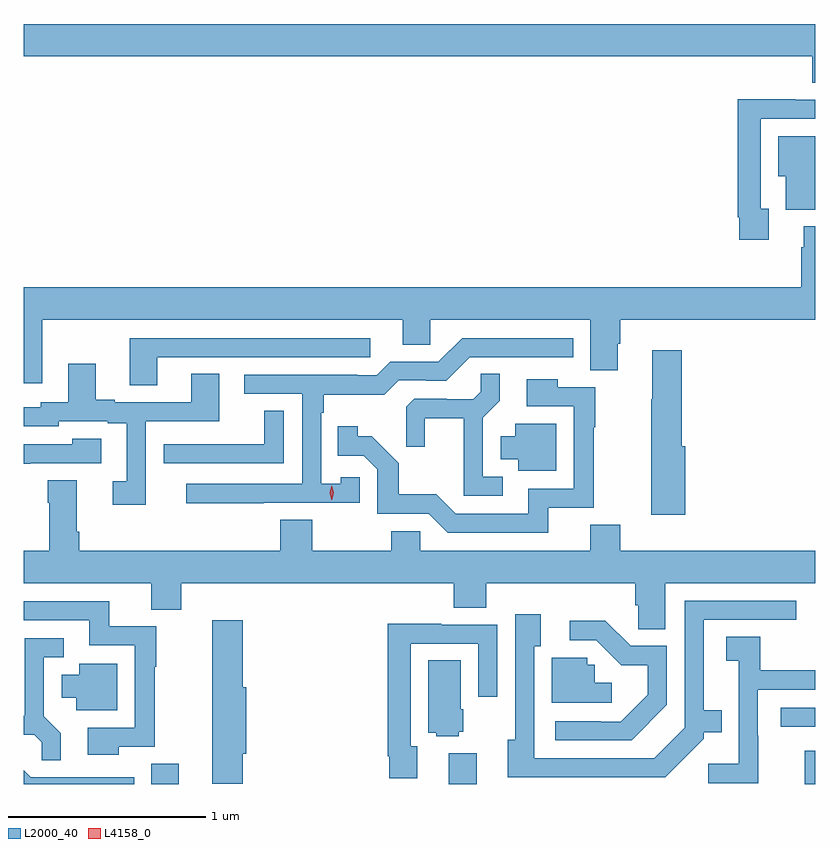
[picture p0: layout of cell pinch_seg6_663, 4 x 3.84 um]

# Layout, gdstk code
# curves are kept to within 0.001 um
import gdstk
lib = gdstk.Library(unit=1e-6, precision=1e-09)
def R(c, l, rs):  # rectangles x0, y0, x1, y1
    for r in rs: c.add(gdstk.rectangle(r[:2], r[2:], *l))
def P(c, l, *ps):  # polygons
    for p in ps: c.add(gdstk.Polygon(p, *l))
L2000_40 = (2000, 40)
L4158_0 = (4158, 0)

pinch_seg6_663 = lib.new_cell('pinch_seg6_663')
R(pinch_seg6_663, L2000_40, [(482.051,948.985,482.191,949.088), (483.557,948.985,483.697,949.141), (485.357,948.985,485.408,949.153), (485.235,949.275,485.408,949.371)])
P(pinch_seg6_663, L2000_40, [(485.408,952.828),(481.408,952.828),(481.408,952.664),(485.393,952.664),(485.393,952.531),(485.408,952.531)],
  [(485.173,951.894),(485.133,951.894),(485.133,952.35),(485.408,952.35),(485.408,952.446),(485.309,952.446),(485.309,952.448),(485.017,952.448),(485.017,951.85),(485.025,951.85),(485.025,951.738),(485.173,951.738)],
  [(485.408,952.261),(485.222,952.261),(485.222,952.058),(485.261,952.058),(485.261,951.89),(485.408,951.89)],
  [(481.501,951.332),(483.323,951.332),(483.323,951.205),(483.462,951.205),(483.462,951.332),(484.271,951.332),(484.271,951.076),(484.411,951.076),(484.411,951.21),(484.424,951.21),(484.424,951.332),(485.408,951.332),(485.408,951.805),(485.351,951.805),(485.351,951.698),(485.339,951.698),(485.339,951.496),(481.408,951.496),(481.408,951.012),(481.501,951.012)],
  [(482.083,951.144),(483.16,951.144),(483.16,951.24),(481.943,951.24),(481.943,951.001),(482.083,951.001)],
  [(482.621,950.406),(483.105,950.406),(483.105,950.535),(483.009,950.535),(483.009,950.503),(482.91,950.503),(482.91,950.861),(482.923,950.861),(482.923,950.954),(483.23,950.954),(483.303,951.027),(483.442,951.027),(483.442,951.024),(483.543,951.024),(483.663,951.144),(484.186,951.144),(484.186,951.24),(483.624,951.24),(483.504,951.12),(483.261,951.12),(483.192,951.051),(483.092,951.051),(483.092,951.054),(482.523,951.054),(482.523,950.958),(482.814,950.958),(482.814,950.502),(482.229,950.502),(482.229,950.404),(482.621,950.404)],
  [(484.751,950.694),(484.733,950.694),(484.733,951.178),(484.586,951.178),(484.586,950.93),(484.579,950.93),(484.579,950.694),(484.58,950.694),(484.58,950.346),(484.751,950.346)],
  [(482.025,950.82),(482.395,950.82),(482.395,951.059),(482.255,951.059),(482.255,950.916),(481.867,950.916),(481.867,950.929),(481.771,950.929),(481.771,951.109),(481.631,951.109),(481.631,950.916),(481.494,950.916),(481.494,950.889),(481.408,950.889),(481.408,950.793),(481.584,950.793),(481.584,950.82),(481.832,950.82),(481.832,950.808),(481.928,950.808),(481.928,950.517),(481.857,950.517),(481.857,950.397),(482.025,950.397)],
  [(483.829,950.538),(483.729,950.538),(483.729,950.837),(483.815,950.923),(483.815,951.059),(483.717,951.059),(483.717,950.968),(483.68,950.931),(483.546,950.931),(483.546,950.934),(483.381,950.934),(483.34,950.893),(483.34,950.691),(483.434,950.691),(483.434,950.834),(483.632,950.834),(483.632,950.442),(483.829,950.442)],
  [(484.058,950.382),(484.289,950.382),(484.289,950.788),(484.297,950.788),(484.297,950.991),(484.107,950.991),(484.107,951.031),(483.951,951.031),(483.951,950.895),(484.188,950.895),(484.188,950.478),(483.959,950.478),(483.959,950.352),(483.591,950.352),(483.493,950.451),(483.304,950.451),(483.304,950.606),(483.166,950.744),(483.096,950.744),(483.096,950.794),(482.995,950.794),(482.995,950.646),(483.126,950.646),(483.195,950.577),(483.195,950.352),(483.456,950.352),(483.552,950.256),(484.058,950.256)],
  [(482.721,950.873),(482.623,950.873),(482.623,950.703),(482.227,950.703),(482.227,950.702),(482.115,950.702),(482.115,950.607),(482.721,950.607)],
  [(484.099,950.806),(483.893,950.806),(483.893,950.743),(483.818,950.743),(483.818,950.627),(483.908,950.627),(483.908,950.57),(484.099,950.57)],
  [(481.439,950.607),(481.798,950.607),(481.798,950.731),(481.653,950.731),(481.653,950.703),(481.408,950.703),(481.408,950.605),(481.439,950.605)],
  [(484.651,950),(485.408,950),(485.408,950.164),(484.424,950.164),(484.424,950.297),(484.271,950.297),(484.271,950.164),(483.411,950.164),(483.411,950.262),(483.265,950.262),(483.265,950.164),(482.865,950.164),(482.865,950.321),(482.705,950.321),(482.705,950.164),(481.688,950.164),(481.688,950.26),(481.675,950.26),(481.675,950.521),(481.528,950.521),(481.528,950.408),(481.535,950.408),(481.535,950.164),(481.408,950.164),(481.408,950),(482.051,950),(482.051,949.867),(482.204,949.867),(482.204,950),(483.581,950),(483.581,949.876),(483.746,949.876),(483.746,950),(484.499,950),(484.499,949.89),(484.513,949.89),(484.513,949.768),(484.651,949.768)],
  [(484.319,949.02),(484.65,949.02),(484.845,949.215),(484.845,949.247),(484.937,949.247),(484.937,949.357),(484.846,949.357),(484.846,949.815),(485.314,949.815),(485.314,949.911),(484.749,949.911),(484.749,949.269),(484.596,949.116),(483.987,949.116),(483.987,949.682),(484.021,949.682),(484.021,949.843),(483.891,949.843),(483.891,949.21),(483.854,949.21),(483.854,949.019)],
  [(481.887,949.173),(482.069,949.173),(482.069,949.579),(482.077,949.579),(482.077,949.782),(481.838,949.782),(481.838,949.908),(481.408,949.908),(481.408,949.812),(481.739,949.812),(481.739,949.686),(481.968,949.686),(481.968,949.269),(481.731,949.269),(481.731,949.133),(481.887,949.133)],
  [(482.513,949.137),(482.531,949.137),(482.531,949.473),(482.513,949.473),(482.513,949.813),(482.359,949.813),(482.359,949.473),(482.36,949.473),(482.36,948.987),(482.513,948.987)],
  [(484.659,949.385),(484.659,949.683),(484.476,949.683),(484.348,949.811),(484.167,949.811),(484.167,949.713),(484.302,949.713),(484.429,949.586),(484.562,949.586),(484.562,949.436),(484.425,949.299),(484.325,949.299),(484.325,949.302),(484.095,949.302),(484.095,949.206),(484.48,949.206)],
  [(483.397,949.175),(483.363,949.175),(483.363,949.695),(483.705,949.695),(483.705,949.425),(483.801,949.425),(483.801,949.791),(483.517,949.791),(483.517,949.795),(483.247,949.795),(483.247,949.126),(483.255,949.126),(483.255,949.014),(483.397,949.014)],
  [(485.121,949.229),(485.118,949.229),(485.118,949.461),(485.408,949.461),(485.408,949.56),(485.131,949.56),(485.131,949.73),(484.959,949.73),(484.959,949.609),(485.022,949.609),(485.022,949.087),(484.869,949.087),(484.869,948.989),(485.121,948.989)],
  [(481.595,949.241),(481.509,949.327),(481.509,949.626),(481.609,949.626),(481.609,949.722),(481.412,949.722),(481.412,949.33),(481.408,949.33),(481.408,949.233),(481.46,949.233),(481.497,949.196),(481.497,949.105),(481.595,949.105)],
  [(484.381,949.498),(484.293,949.498),(484.293,949.587),(484.257,949.587),(484.257,949.623),(484.076,949.623),(484.076,949.395),(484.381,949.395)],
  [(483.606,949.248),(483.628,949.248),(483.628,949.362),(483.616,949.362),(483.616,949.61),(483.452,949.61),(483.452,949.244),(483.492,949.244),(483.492,949.226),(483.606,949.226)],
  [(481.879,949.594),(481.688,949.594),(481.688,949.537),(481.598,949.537),(481.598,949.421),(481.673,949.421),(481.673,949.358),(481.879,949.358)],
  [(481.966,949.02),(481.443,949.02),(481.408,949.055),(481.408,948.985),(481.966,948.985)])
P(pinch_seg6_663, L4158_0, [(482.964,950.421),(482.964,950.421),(482.954,950.457),(482.964,950.493),(482.964,950.493),(482.964,950.493),(482.974,950.457),(482.964,950.421)])

lib.write_gds('pinch_seg6_663.gds')
